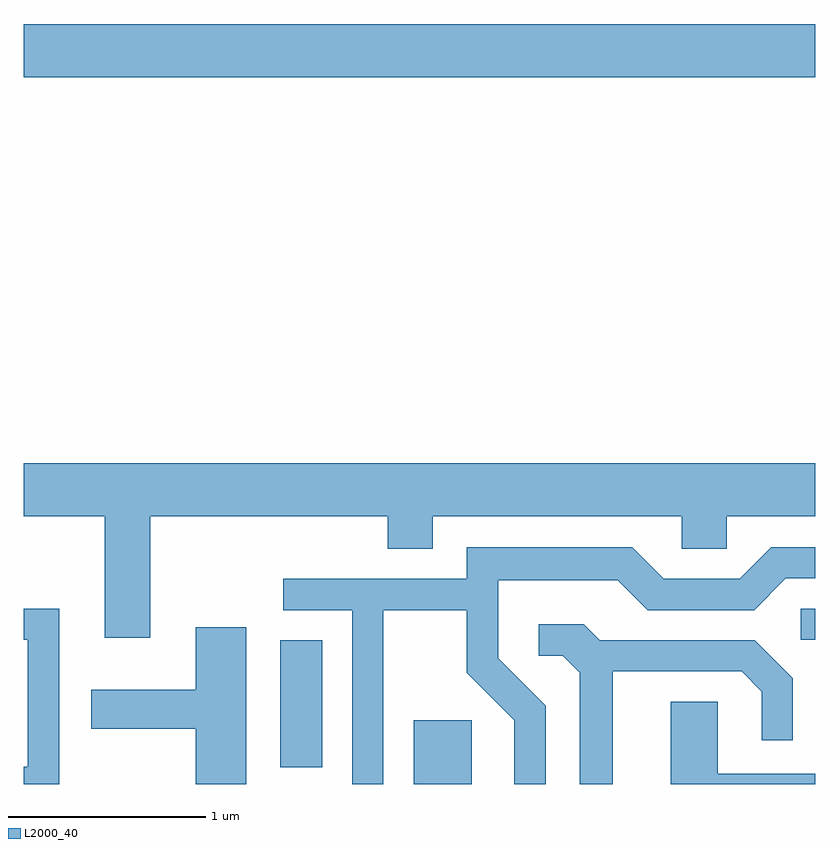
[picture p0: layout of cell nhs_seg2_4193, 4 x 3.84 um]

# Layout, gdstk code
import gdstk
lib = gdstk.Library(unit=1e-6, precision=1e-09)
def R(c, l, rs):  # rectangles x0, y0, x1, y1
    for r in rs: c.add(gdstk.rectangle(r[:2], r[2:], *l))
def P(c, l, *ps):  # polygons
    for p in ps: c.add(gdstk.Polygon(p, *l))
L2000_40 = (2000, 40)

nhs_seg2_4193 = lib.new_cell('nhs_seg2_4193')
R(nhs_seg2_4193, L2000_40, [(309.581,1095.802,309.874,1096.124), (308.906,1095.886,309.119,1096.529), (311.538,1096.531,311.611,1096.689), (307.611,1099.376,311.611,1099.644)])
P(nhs_seg2_4193, L2000_40, [(308.249,1097.156),(309.451,1097.156),(309.451,1096.991),(309.679,1096.991),(309.679,1097.156),(310.936,1097.156),(310.936,1096.991),(311.164,1096.991),(311.164,1097.156),(311.611,1097.156),(311.611,1097.424),(307.611,1097.424),(307.611,1097.156),(308.021,1097.156),(308.021,1096.541),(308.249,1096.541)],
  [(309.429,1096.681),(309.851,1096.681),(309.851,1096.364),(310.091,1096.124),(310.091,1095.802),(310.249,1095.802),(310.249,1096.197),(310.009,1096.437),(310.009,1096.831),(310.614,1096.831),(310.764,1096.681),(311.302,1096.681),(311.462,1096.841),(311.611,1096.841),(311.611,1096.999),(311.389,1096.999),(311.229,1096.839),(310.847,1096.839),(310.687,1096.999),(309.851,1096.999),(309.851,1096.839),(308.923,1096.839),(308.923,1096.681),(309.271,1096.681),(309.271,1095.802),(309.429,1095.802)],
  [(307.789,1096.689),(307.611,1096.689),(307.611,1096.531),(307.631,1096.531),(307.631,1095.889),(307.611,1095.889),(307.611,1095.802),(307.789,1095.802)],
  [(310.589,1096.371),(311.239,1096.371),(311.341,1096.269),(311.341,1096.023),(311.499,1096.023),(311.499,1096.337),(311.307,1096.529),(310.522,1096.529),(310.442,1096.609),(310.213,1096.609),(310.213,1096.451),(310.334,1096.451),(310.421,1096.364),(310.421,1095.802),(310.589,1095.802)],
  [(308.734,1096.594),(308.481,1096.594),(308.481,1096.279),(307.951,1096.279),(307.951,1096.081),(308.481,1096.081),(308.481,1095.802),(308.734,1095.802)],
  [(311.611,1095.854),(311.119,1095.854),(311.119,1096.219),(310.881,1096.219),(310.881,1095.802),(311.611,1095.802)])

lib.write_gds('nhs_seg2_4193.gds')
